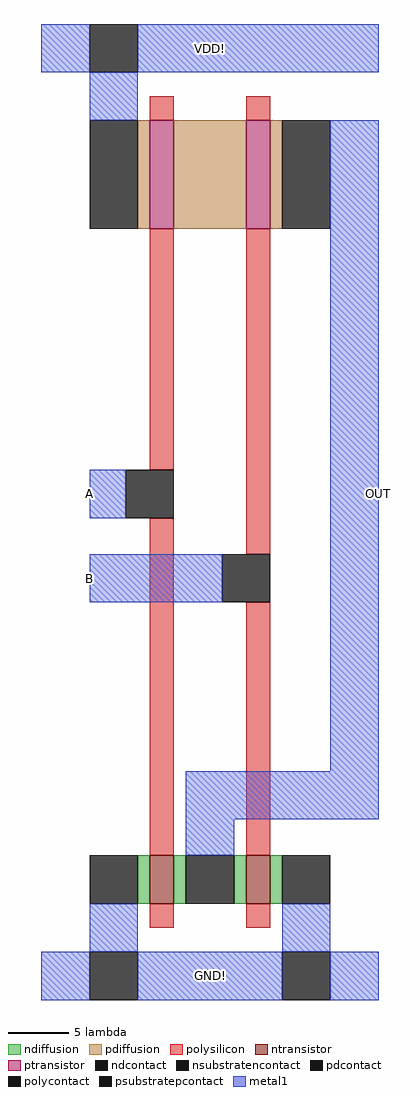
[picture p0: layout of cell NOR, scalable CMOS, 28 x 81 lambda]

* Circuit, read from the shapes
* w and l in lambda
.subckt NOR A B GND! OUT VDD!
M1 OUT A GND! GND! nfet w=4 l=2
M2 GND! B OUT GND! nfet w=4 l=2
M3 n1 A VDD! VDD! pfet w=9 l=2
M4 OUT B n1 VDD! pfet w=9 l=2
.ends

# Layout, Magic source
magic
tech scmos
<< ntransistor >>
rect 3 -25 5 -21
rect 11 -25 13 -21
<< ptransistor >>
rect 3 31 5 40
rect 11 31 13 40
<< ndiffusion >>
rect 2 -25 3 -21
rect 5 -25 6 -21
rect 10 -25 11 -21
rect 13 -25 14 -21
<< pdiffusion >>
rect 2 31 3 40
rect 5 31 11 40
rect 13 31 14 40
<< ndcontact >>
rect -2 -25 2 -21
rect 6 -25 10 -21
rect 14 -25 18 -21
<< pdcontact >>
rect -2 31 2 40
rect 14 31 18 40
<< psubstratepcontact >>
rect -2 -33 2 -29
rect 14 -33 18 -29
<< nsubstratencontact >>
rect -2 44 2 48
<< polysilicon >>
rect 3 40 5 42
rect 11 40 13 42
rect 3 11 5 31
rect 3 -21 5 7
rect 11 4 13 31
rect 11 -21 13 0
rect 3 -27 5 -25
rect 11 -27 13 -25
<< polycontact >>
rect 1 7 5 11
rect 9 0 13 4
<< metal1 >>
rect -6 44 -2 48
rect 2 44 22 48
rect -2 40 2 44
rect -2 7 1 11
rect -2 0 9 4
rect 18 -14 22 40
rect 6 -18 22 -14
rect 6 -21 10 -18
rect -2 -29 2 -25
rect 14 -29 18 -25
rect -6 -33 -2 -29
rect 2 -33 14 -29
rect 18 -33 22 -29
<< labels >>
rlabel metal1 8 46 8 46 5 VDD!
rlabel metal1 -2 7 -2 11 3 A
rlabel metal1 -2 0 -2 4 3 B
rlabel metal1 22 7 22 11 7 OUT
rlabel metal1 8 -31 8 -31 1 GND!
<< end >>
